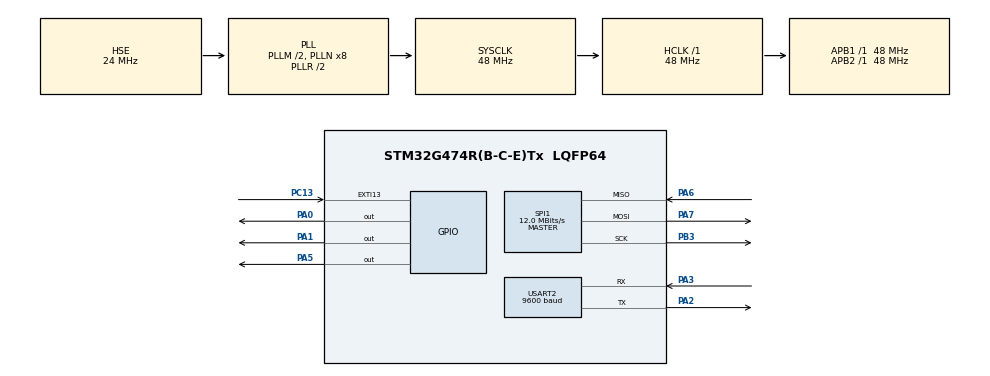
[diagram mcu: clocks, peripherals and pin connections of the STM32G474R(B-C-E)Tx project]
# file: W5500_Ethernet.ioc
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Mcu.Family=STM32G4
Mcu.Name=STM32G474R(B-C-E)Tx
Mcu.Package=LQFP64
NUCLEO-G474RE.BUTTON=1
NUCLEO-G474RE.LD2=true
NUCLEO-G474RE.VCP=true
NVIC.EXTI15_10_IRQn=true\:0\:0\:false\:false\:true\:true\:true\:true
NVIC.PriorityGroup=NVIC_PRIORITYGROUP_4
PA0.Signal=GPIO_Output
PA1.Signal=GPIO_Output
PA13.GPIO_Label=T_SWDIO
PA13.Mode=Serial_Wire
PA13.Signal=SYS_JTMS-SWDIO
PA14.GPIO_Label=T_SWCLK
PA14.Mode=Serial_Wire
PA14.Signal=SYS_JTCK-SWCLK
PA2.Mode=Asynchronous
PA2.Signal=USART2_TX
PA3.Mode=Asynchronous
PA3.Signal=USART2_RX
PA5.Signal=GPIO_Output
PA6.Mode=Full_Duplex_Master
PA6.Signal=SPI1_MISO
PA7.Mode=Full_Duplex_Master
PA7.Signal=SPI1_MOSI
PB3.Mode=Full_Duplex_Master
PB3.Signal=SPI1_SCK
PC13.Signal=GPXTI13
PF0-OSC_IN.GPIO_Label=RCC_OSC_IN
PF0-OSC_IN.Mode=HSE-External-Oscillator
PF0-OSC_IN.Signal=RCC_OSC_IN
PF1-OSC_OUT.GPIO_Label=RCC_OSC_OUT
PF1-OSC_OUT.Mode=HSE-External-Oscillator
PF1-OSC_OUT.Signal=RCC_OSC_OUT
ProjectManager.HeapSize=0x200
ProjectManager.StackSize=0x400
ProjectManager.TargetToolchain=STM32CubeIDE
RCC.ADC12Freq_Value=48000000
RCC.ADC345Freq_Value=48000000
RCC.AHBFreq_Value=48000000
RCC.APB1Freq_Value=48000000
RCC.APB1TimFreq_Value=48000000
RCC.APB2Freq_Value=48000000
RCC.APB2TimFreq_Value=48000000
RCC.CortexFreq_Value=48000000
RCC.EXTERNAL_CLOCK_VALUE=12288000
RCC.HCLKFreq_Value=48000000
RCC.HSE_VALUE=24000000
RCC.HSI48_VALUE=48000000
RCC.HSI_VALUE=16000000
RCC.LSE_VALUE=32768
RCC.PLLM=RCC_PLLM_DIV2
RCC.PLLSourceVirtual=RCC_PLLSOURCE_HSE
RCC.RTCClockSelection=RCC_RTCCLKSOURCE_LSE
RCC.SYSCLKFreq_VALUE=48000000
RCC.SYSCLKSource=RCC_SYSCLKSOURCE_PLLCLK
RCC.USBFreq_Value=48000000
RCC.VCOOutputFreq_Value=96000000
SPI1.BaudRatePrescaler=SPI_BAUDRATEPRESCALER_4
SPI1.CalculateBaudRate=12.0 MBits/s
SPI1.DataSize=SPI_DATASIZE_8BIT
SPI1.Direction=SPI_DIRECTION_2LINES
SPI1.Mode=SPI_MODE_MASTER
SPI1.VirtualType=VM_MASTER
USART2.BaudRate=9600
USART2.VirtualMode-Asynchronous=VM_ASYNC
VP_NUCLEO-G474RE_VS_BSP_COMMON.Mode=COMMON
VP_SYS_VS_DBSignals.Mode=DisableDeadBatterySignals
board=NUCLEO-G474RE

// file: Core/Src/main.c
/* USER CODE BEGIN Header */
/**
  ******************************************************************************
  * @file           : main.c
  * @brief          : Main program body
  ******************************************************************************
  * @attention
  *
  * Copyright (c) 2025 STMicroelectronics.
  * All rights reserved.
  *
  * This software is licensed under terms that can be found in the LICENSE file
  * in the root directory of this software component.
  * If no LICENSE file comes with this software, it is provided AS-IS.
  *
  ******************************************************************************
  */
/* USER CODE END Header */
#include "main.h"
#include <stdio.h>
#include <string.h>
/* USER CODE BEGIN Includes */
#include "w5500_spi.h"
#include "wizchip_conf.h"
#include "socket.h"
/* USER CODE END Includes */

/* USER CODE BEGIN PD */
#define LISTEN_PORT 5000
#define RECEIVE_BUFF_SIZE 128
/* USER CODE END PD */

SPI_HandleTypeDef hspi1;

UART_HandleTypeDef huart2;

/* USER CODE BEGIN PV */
wiz_NetInfo gWIZNETINFO2 = {
		.mac = { 0x80, 0x34, 0x28, 0x74, 0xA5, 0xCB },//MSB - LSB
		.ip ={ 192, 168, 0, 112 },
		.sn = { 255, 255, 255, 0 },
		.gw ={ 192, 168, 0, 1 },
		.dns = { 8, 8, 8, 8 },
		.dhcp = NETINFO_STATIC };

uint8_t destination_ip[]={192,168,0,33};
uint16_t destination_port=5000;
uint8_t receive_buff[RECEIVE_BUFF_SIZE];//to receive data from client
/* USER CODE END PV */

void SystemClock_Config(void);
static void MX_GPIO_Init(void);
static void MX_SPI1_Init(void);
static void MX_USART2_UART_Init(void);
/* USER CODE BEGIN PFP */
static void UWriteData(const char data);
static void PHYStatusCheck(void);
static void PrintPHYConf(void);

static void simpleClientExample(void);
/* USER CODE END PFP */

int main(void)
{

	/* MCU Configuration--------------------------------------------------------*/

	/* Reset of all peripherals, Initializes the Flash interface and the Systick. */
	HAL_Init();

	/* USER CODE BEGIN Init */
	setbuf(stdout, NULL);
	/* USER CODE END Init */

	/* Configure the system clock */
	SystemClock_Config();

	/* Initialize all configured peripherals */
	MX_GPIO_Init();
	MX_SPI1_Init();
	MX_USART2_UART_Init();
	/* USER CODE BEGIN 2 */
	W5500Init();
	ctlnetwork(CN_SET_NETINFO, (void*) &gWIZNETINFO2);

	wiz_PhyConf phyconf;

	phyconf.by = PHY_CONFBY_SW;
	phyconf.duplex = PHY_DUPLEX_FULL;
	phyconf.speed = PHY_SPEED_10;
	phyconf.mode = PHY_MODE_AUTONEGO;

	ctlwizchip(CW_SET_PHYCONF, (void*) &phyconf);

	PHYStatusCheck();
	PrintPHYConf();
	/* USER CODE END 2 */

	printf("\r\n*****************SIMPLE TCP ECHO SERVER******************\r\n");

	while (1) {
		printf("\r\nInitializing server socket\r\n");

		//Parameters in order socket_id, protocol TCP or UDP, Port number, Flags=0
		//Return value is socket ID on success
		if (socket(1, Sn_MR_TCP, LISTEN_PORT, 0) != 1) {
			//error
			printf("Cannot create Socket!\r\n");
			while (1)
				;		  //halt here
		}

		//success
		printf("Socket Created Successfully ! \r\n");

		uint8_t socket_io_mode = SOCK_IO_BLOCK;

		ctlsocket(1, CS_SET_IOMODE, &socket_io_mode);	//set blocking IO mode

		printf("Start listening on port %d ! \r\n", LISTEN_PORT);
		printf("Waiting for a client connection. \r\n");

		//Make it a passive socket (i.e. listen for connection)
		if (listen(1) != SOCK_OK)//our socket id is 1 (w5500 have 8 sockets from 0-7)
		{
			//error
			printf("Cannot listen on port %d", LISTEN_PORT);

			while (1)
				;

		}

		uint8_t sr = 0x00;		  //socket status register

		do {
			sr = getSn_SR(1);		  //read status reg (SR of socket 1)
		} while (sr != 0x17 && sr != 0x00);

		if (sr == 0x00) {
			printf("Some error occurred on server socket. Please restart.\r\n");
			while (1)
				;
		}

		if (sr == 0x17) {
			//we come here only when a client has connected.
			//Now we can read data from the socket
			printf("A client connected!\r\n");
			printf("Waiting for Client Data ...!\r\n");

			while (1) {
				int len = recv(1, receive_buff, RECEIVE_BUFF_SIZE);

				if (len == SOCKERR_SOCKSTATUS) {
					//client has disconnected
					printf("Client has disconnected\r\n");
					printf("*** SESSION OVER ***\r\n\r\n");
					break;
				}

				receive_buff[len] = '\0';

				printf("Received %d bytes from client\r\n", len);
				printf("Data Received: %s", receive_buff);

				//Echo the data back encloused in a [] pair
				send(1, (uint8_t*) "[", 1);			  //starting sq bracket
				send(1, receive_buff, len);			  // the data
				send(1, (uint8_t*) "]", 1);			  //closing sq bracket

				printf("\r\nECHO sent back to client\r\n");

				//Look for quit message and quit if received
				if (strcmp((char*) receive_buff, "QUIT") == 0) {
					printf("Received QUIT command from client\r\n");
					printf("Disconnecting ... \r\n");
					printf("*** SESSION OVER ***\r\n\r\n");
					disconnect(1);			  //disconnect from the clinet
					break;			  //come out of while loop
				}

			}			  //While loop (as long as client is connected)

		}			  //if block, client connect success
	}			  //while loop for next client wait
}

void SystemClock_Config(void)
{
  RCC_OscInitTypeDef RCC_OscInitStruct = {0};
  RCC_ClkInitTypeDef RCC_ClkInitStruct = {0};

  /** Configure the main internal regulator output voltage
  */
  HAL_PWREx_ControlVoltageScaling(PWR_REGULATOR_VOLTAGE_SCALE1);

  /** Initializes the RCC Oscillators according to the specified parameters
  * in the RCC_OscInitTypeDef structure.
  */
  RCC_OscInitStruct.OscillatorType = RCC_OSCILLATORTYPE_HSE;
  RCC_OscInitStruct.HSEState = RCC_HSE_ON;
  RCC_OscInitStruct.PLL.PLLState = RCC_PLL_ON;
  RCC_OscInitStruct.PLL.PLLSource = RCC_PLLSOURCE_HSE;
  RCC_OscInitStruct.PLL.PLLM = RCC_PLLM_DIV2;
  RCC_OscInitStruct.PLL.PLLN = 8;
  RCC_OscInitStruct.PLL.PLLP = RCC_PLLP_DIV2;
  RCC_OscInitStruct.PLL.PLLQ = RCC_PLLQ_DIV2;
  RCC_OscInitStruct.PLL.PLLR = RCC_PLLR_DIV2;
  if (HAL_RCC_OscConfig(&RCC_OscInitStruct) != HAL_OK)
  {
    Error_Handler();
  }

  /** Initializes the CPU, AHB and APB buses clocks
  */
  RCC_ClkInitStruct.ClockType = RCC_CLOCKTYPE_HCLK|RCC_CLOCKTYPE_SYSCLK
                              |RCC_CLOCKTYPE_PCLK1|RCC_CLOCKTYPE_PCLK2;
  RCC_ClkInitStruct.SYSCLKSource = RCC_SYSCLKSOURCE_PLLCLK;
  RCC_ClkInitStruct.AHBCLKDivider = RCC_SYSCLK_DIV1;
  RCC_ClkInitStruct.APB1CLKDivider = RCC_HCLK_DIV1;
  RCC_ClkInitStruct.APB2CLKDivider = RCC_HCLK_DIV1;

  if (HAL_RCC_ClockConfig(&RCC_ClkInitStruct, FLASH_LATENCY_1) != HAL_OK)
  {
    Error_Handler();
  }
}

static void MX_SPI1_Init(void)
{

  /* SPI1 parameter configuration*/
  hspi1.Instance = SPI1;
  hspi1.Init.Mode = SPI_MODE_MASTER;
  hspi1.Init.Direction = SPI_DIRECTION_2LINES;
  hspi1.Init.DataSize = SPI_DATASIZE_8BIT;
  hspi1.Init.CLKPolarity = SPI_POLARITY_LOW;
  hspi1.Init.CLKPhase = SPI_PHASE_1EDGE;
  hspi1.Init.NSS = SPI_NSS_SOFT;
  hspi1.Init.BaudRatePrescaler = SPI_BAUDRATEPRESCALER_4;
  hspi1.Init.FirstBit = SPI_FIRSTBIT_MSB;
  hspi1.Init.TIMode = SPI_TIMODE_DISABLE;
  hspi1.Init.CRCCalculation = SPI_CRCCALCULATION_DISABLE;
  hspi1.Init.CRCPolynomial = 7;
  hspi1.Init.CRCLength = SPI_CRC_LENGTH_DATASIZE;
  hspi1.Init.NSSPMode = SPI_NSS_PULSE_ENABLE;
  if (HAL_SPI_Init(&hspi1) != HAL_OK)
  {
    Error_Handler();
  }
  /* USER CODE BEGIN SPI1_Init 2 */
  __HAL_SPI_ENABLE(&hspi1);
  /* USER CODE END SPI1_Init 2 */

}

static void MX_USART2_UART_Init(void)
{

  huart2.Instance = USART2;
  huart2.Init.BaudRate = 9600;
  huart2.Init.WordLength = UART_WORDLENGTH_8B;
  huart2.Init.StopBits = UART_STOPBITS_1;
  huart2.Init.Parity = UART_PARITY_NONE;
  huart2.Init.Mode = UART_MODE_TX_RX;
  huart2.Init.HwFlowCtl = UART_HWCONTROL_NONE;
  huart2.Init.OverSampling = UART_OVERSAMPLING_16;
  huart2.Init.OneBitSampling = UART_ONE_BIT_SAMPLE_DISABLE;
  huart2.Init.ClockPrescaler = UART_PRESCALER_DIV1;
  huart2.AdvancedInit.AdvFeatureInit = UART_ADVFEATURE_NO_INIT;
  if (HAL_UART_Init(&huart2) != HAL_OK)
  {
    Error_Handler();
  }
  if (HAL_UARTEx_SetTxFifoThreshold(&huart2, UART_TXFIFO_THRESHOLD_1_8) != HAL_OK)
  {
    Error_Handler();
  }
  if (HAL_UARTEx_SetRxFifoThreshold(&huart2, UART_RXFIFO_THRESHOLD_1_8) != HAL_OK)
  {
    Error_Handler();
  }
  if (HAL_UARTEx_DisableFifoMode(&huart2) != HAL_OK)
  {
    Error_Handler();
  }

}

static void MX_GPIO_Init(void)
{
  GPIO_InitTypeDef GPIO_InitStruct = {0};

  /* GPIO Ports Clock Enable */
  __HAL_RCC_GPIOF_CLK_ENABLE();
  __HAL_RCC_GPIOA_CLK_ENABLE();
  __HAL_RCC_GPIOB_CLK_ENABLE();

  /*Configure GPIO pin Output Level */
  HAL_GPIO_WritePin(GPIOA, GPIO_PIN_0|GPIO_PIN_1, GPIO_PIN_RESET);

  /*Configure GPIO pins : PA0 PA1 */
  GPIO_InitStruct.Pin = GPIO_PIN_0|GPIO_PIN_1;
  GPIO_InitStruct.Mode = GPIO_MODE_OUTPUT_PP;
  GPIO_InitStruct.Pull = GPIO_NOPULL;
  GPIO_InitStruct.Speed = GPIO_SPEED_FREQ_LOW;
  HAL_GPIO_Init(GPIOA, &GPIO_InitStruct);

}

/* USER CODE BEGIN 4 */
void UWriteData(const char data)
{
	while(__HAL_UART_GET_FLAG(&huart2,UART_FLAG_TXE)==RESET);

	huart2.Instance->TDR=data;

}

int __io_putchar(int ch)
{
	UWriteData(ch);
	return ch;
}

void PHYStatusCheck(void)
{
	uint8_t tmp;

	do
	{
		printf("\r\nChecking Ethernet Cable Presence ...");
		ctlwizchip(CW_GET_PHYLINK, (void*) &tmp);

		if(tmp == PHY_LINK_OFF)
		{
			printf("NO Cable Connected!");
			HAL_Delay(1500);
		}
	}while(tmp == PHY_LINK_OFF);

	printf("Good! Cable got connected!");

}

void PrintPHYConf(void)
{
	wiz_PhyConf phyconf;

	ctlwizchip(CW_GET_PHYCONF, (void*) &phyconf);

	if(phyconf.by==PHY_CONFBY_HW)
	{
		printf("\n\rPHY Configured by Hardware Pins");
	}
	else
	{
		printf("\n\rPHY Configured by Registers");
	}

	if(phyconf.mode==PHY_MODE_AUTONEGO)
	{
		printf("\n\rAutonegotiation Enabled");
	}
	else
	{
		printf("\n\rAutonegotiation NOT Enabled");
	}

	if(phyconf.duplex==PHY_DUPLEX_FULL)
	{
		printf("\n\rDuplex Mode: Full");
	}
	else
	{
		printf("\n\rDuplex Mode: Half");
	}

	if(phyconf.speed==PHY_SPEED_10)
	{
		printf("\n\rSpeed: 10Mbps");
	}
	else
	{
		printf("\n\rSpeed: 100Mbps");
	}
}

static void simpleClientExample(void)
{
	  W5500Init();
	  ctlnetwork(CN_SET_NETINFO, (void* )&gWIZNETINFO2);

	  wiz_PhyConf phyconf;

	  phyconf.by = PHY_CONFBY_SW;
	  phyconf.duplex = PHY_DUPLEX_FULL;
	  phyconf.speed = PHY_SPEED_10;
	  phyconf.mode = PHY_MODE_AUTONEGO;

	  ctlwizchip(CW_SET_PHYCONF, (void*)&phyconf);

	  PHYStatusCheck();
	  PrintPHYConf();
	  /* USER CODE END 2 */

	  /* Infinite loop */
	  /* USER CODE BEGIN WHILE */
	  if(socket(1, Sn_MR_TCP, 0, 0)==1)
	  {
		  printf("\r\nSocket Created Successfully");
	  }
	  else
	  {
		  printf("\r\nCannot create socket");
		  while(1);
	  }

	  printf("\r\nConnecting to server: %d.%d.%d.%d @ TCP Port: %d",destination_ip[0],destination_ip[1],destination_ip[2],destination_ip[3],destination_port);
	  if(connect(1, destination_ip, destination_port)==SOCK_OK)
	  {
		  printf("\r\nConnected with server.");
	  }
	  else
	  {
		  //failed
		  printf("\r\nCannot connect with server!");
		  while(1);
	  }

	  while (1)
	  {
		  //Return value of the send() function is the amount of data sent
		  if(send(1, "JAI SHREE RAM!\r\n", 16)<=SOCK_ERROR)
		  {
			  printf("\r\nSending Failed!");
			  while(1);

		  }
		  else
		  {
			  printf("\r\nSending Success!");
		  }

		  HAL_Delay(1000);
	  }
}
/* USER CODE END 4 */

void Error_Handler(void)
{
  __disable_irq();
  while (1)
  {
  }
}
